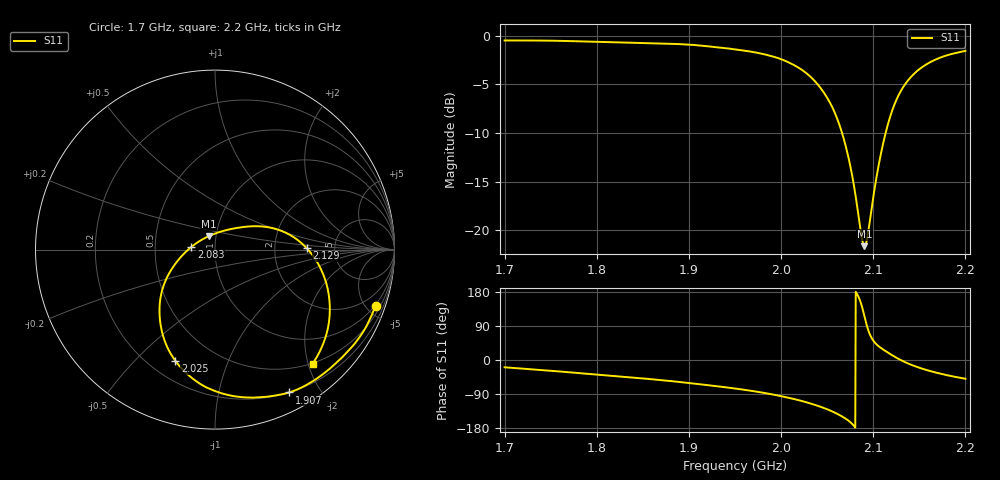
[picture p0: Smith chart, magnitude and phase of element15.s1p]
# Hz S RI R 50
! CMT, CMT808U, 21440046, 21.4.3/4
! Date: 12/1/2025 1:54:40 PM
! Data: Format (Calibration Info)
! Freq	S11:Re/Im(F2)
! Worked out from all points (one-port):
!   1001 points, 1.7 GHz to 2.2 GHz, reference 50 ohm
!   lowest |S11| = -21.7 dB at 2.091 GHz (marker M1), VSWR 1.18, Z = 46.1 + j6.95 ohm
!   |S11| at or under -10 dB: 2.066 GHz to 2.113 GHz (47.27 MHz wide, 2.26 % of centre)
!   S11 on the Smith chart (normalised r, x): 1.7 GHz: 0.95, -5.75; 1.907 GHz: 0.20, -1.63; 2.025 GHz: 0.30, -0.66; 2.083 GHz: 0.77, +0.02; 2.129 GHz: 3.09, +0.07; 2.2 GHz: 0.49, -2.08
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1.7e9  0.8944 -0.3118
1.7625e9  0.8088 -0.4833
1.825e9  0.6717 -0.6352
1.8875e9  0.4893 -0.7647
1.9065e9  0.4143 -0.7956
1.95e9  0.2179 -0.8247
1.9855e9  0.0211 -0.7956
1.999e9  -0.0642 -0.7592
2.0125e9  -0.1493 -0.6979
2.0245e9  -0.2201 -0.6206
2.041e9  -0.2924 -0.4695
2.055e9  -0.3082 -0.3066
2.0655e9  -0.2749 -0.1713
2.075e9  -0.2066 -0.0604
2.0825e9  -0.1325 0.0141
2.0875e9  -0.0735 0.0549
2.0905e9  -0.0352 0.0748
2.092e9  -0.0154 0.0834
2.094e9  0.0111 0.0934
2.1035e9  0.1401 0.1235
2.112e9  0.2671 0.1284
2.12e9  0.3942 0.094
2.129e9  0.5106 0.00842
2.1375e9  0.581 -0.0908
2.149e9  0.629 -0.224
2.1625e9  0.6388 -0.3637
2.181e9  0.6052 -0.5184
2.2e9  0.5438 -0.6355
